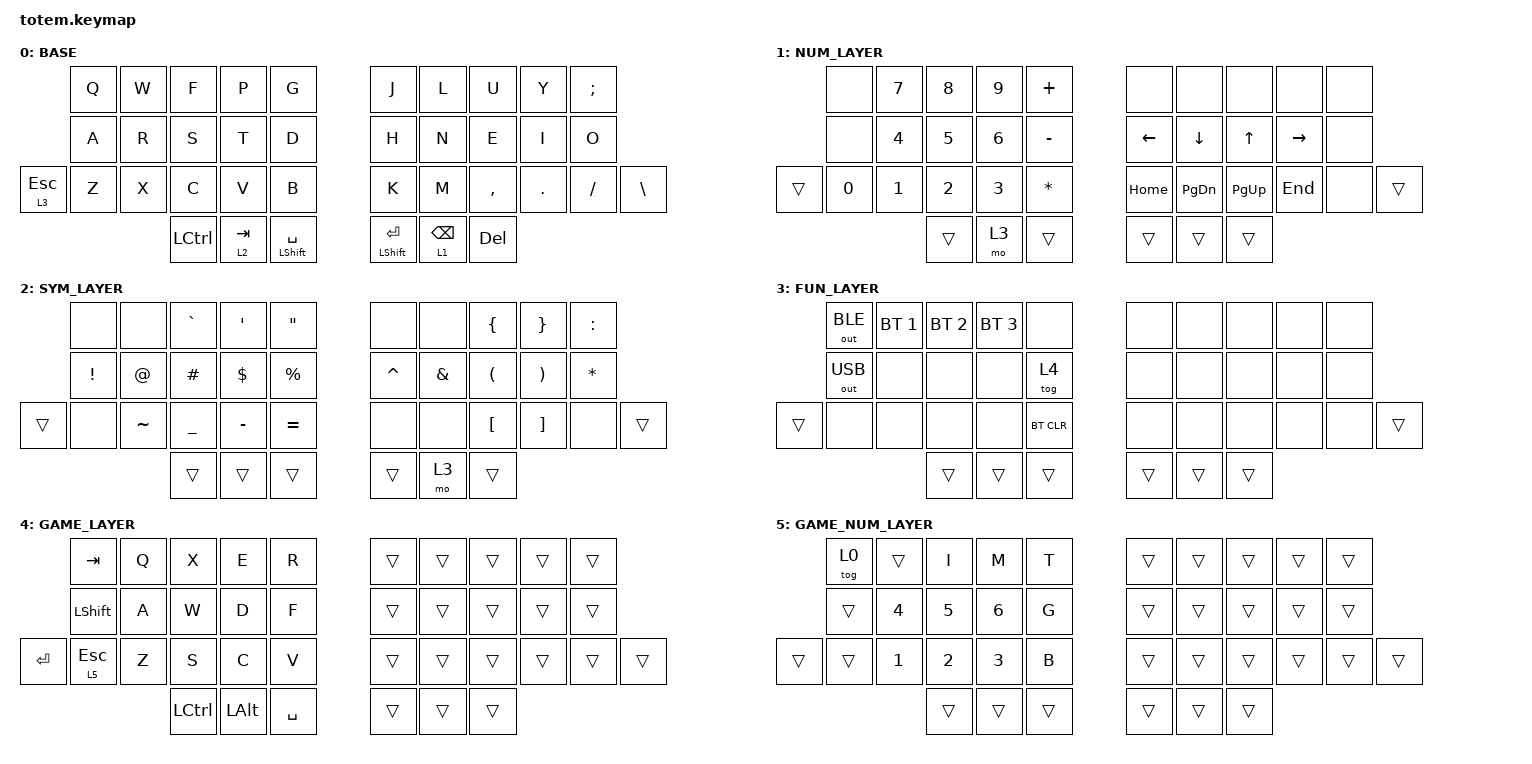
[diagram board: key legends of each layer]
//
//                                                        ▀▀▀▀▀     ▀▀▀▀▀          ▀▀█▀▀
//                                                        ▄▀▀▀▄  ▄  ▄▀▀▀▄  ▄  ▄▀▀▀▄  █  ▄▀▀▀▄
//                                                        █   █  █  █   █  █  █   █  █  █   █
//                                                         ▀▀▀   █   ▀▀▀   █   ▀▀▀   ▀   ▀▀▀
//                                                               █      ▄▄▄█▄▄▄    █   █  
//                                                               ▀      █  █  █     █▄█
//                                                             ▀▀▀▀▀    █  █  █      ▀
//                                                                      ▀  ▀  ▀
//
// ▄▄▄▄▄▄▄▄▄▄▄▄▄▄▄▄▄▄▄▄▄▄▄▄▄▄▄▄▄▄▄▄▄▄▄▄▄▄▄▄▄▄▄▄▄▄▄▄▄▄▄▄▄▄▄▄▄▄▄▄▄▄▄▄▄▄▄▄▄▄▄▄▄▄▄▄▄▄▄▄▄▄▄▄▄▄▄▄▄▄▄▄▄▄▄▄▄▄▄▄▄▄▄▄▄▄▄▄▄▄▄▄▄▄▄▄▄▄▄▄▄▄▄▄▄▄▄▄▄▄▄▄▄▄▄▄▄▄▄▄▄▄▄▄▄▄▄▄▄

#include <behaviors.dtsi>
#include <dt-bindings/zmk/bt.h>
#include <dt-bindings/zmk/keys.h>
#include <dt-bindings/zmk/outputs.h>

#define BASE 0
#define NAV  1
#define SYM  2
#define ADJ  3
#define TVP1 4
#define TVP2 5

&mt {
    quick-tap-ms = <100>;
    global-quick-tap;
    flavor = "tap-preferred";
    tapping-term-ms = <170>;
};

/ {
    combos {
        compatible = "zmk,combos";

        combo_esc {
            timeout-ms = <50>;
            key-positions = <0 1>;
            bindings = <&kp ESC>;
        };

        combo_tvp {
            timeout-ms = <100>;
            key-positions = <11 12 13>;
            bindings = <&tog 0>;
        };
    };

    macros {
        gif: gif {
            label = "giphy";
            compatible = "zmk,behavior-macro";
            #binding-cells = <0>;
            bindings =
                <&macro_press>,
                <&kp LSHFT>,
                <&macro_tap>,
                <&kp N2>,
                <&macro_release>,
                <&kp LSHFT>,
                <&macro_tap>,
                <&kp G &kp I &kp F>;
        };
    };

    keymap {
        compatible = "zmk,keymap";

        // ▄▄▄▄▄▄▄▄▄▄▄▄▄▄▄▄▄▄▄▄▄▄▄▄▄▄▄▄▄▄▄▄▄▄▄▄▄▄▄▄▄▄▄▄▄▄▄▄▄▄▄▄▄▄▄▄▄▄▄▄▄▄▄▄▄▄▄▄▄▄▄▄▄▄▄▄▄▄▄▄▄▄▄▄▄▄▄▄▄▄▄▄▄▄▄▄▄▄▄▄▄▄▄▄▄▄▄▄▄▄▄▄▄▄▄▄▄▄▄▄▄▄▄▄▄▄▄▄▄▄▄▄▄▄▄▄▄▄▄▄▄▄▄▄▄▄▄▄▄

        BASE_LAYER {
            // ┏━━━━━━━━━━━━━━━━━━━━━━━━━━━━━━━━━━━━━━━┓

            label = "BASE";

            // ┗━━━━━━━━━━━━━━━━━━━━━━━━━━━━━━━━━━━━━━━┛
            //             ┏━━━━━━━━━━━┳━━━━━━━━━━━┳━━━━━━━━━━━┳━━━━━━━━━━━┳━━━━━━━━━━━┓   ┏━━━━━━━━━━━┳━━━━━━━━━━━┳━━━━━━━━━━━┳━━━━━━━━━━━┳━━━━━━━━━━━┓
            //             ┃     Q     ┃     W     ┃     F     ┃     P     ┃     G     ┃   ┃     J     ┃     L     ┃     U     ┃     Y     ┃     ;     ┃
            //             ┣━━━━━━━━━━━╋━━━━━━━━━━━╋━━━━━━━━━━━╋━━━━━━━━━━━╋━━━━━━━━━━━┫   ┣━━━━━━━━━━━╋━━━━━━━━━━━╋━━━━━━━━━━━╋━━━━━━━━━━━╋━━━━━━━━━━━┫
            //             ┃     A     ┃     R     ┃     S     ┃     T     ┃     D     ┃   ┃     H     ┃     N     ┃     E     ┃     I     ┃     O     ┃
            // ┏━━━━━━━━━━━╋━━━━━━━━━━━╋━━━━━━━━━━━╋━━━━━━━━━━━╋━━━━━━━━━━━╋━━━━━━━━━━━┫   ┣━━━━━━━━━━━╋━━━━━━━━━━━╋━━━━━━━━━━━╋━━━━━━━━━━━╋━━━━━━━━━━━╋━━━━━━━━━━━┓
            // ┃     Q     ┃     Z     ┃     X     ┃     C     ┃     V     ┃     B     ┃   ┃     K     ┃     M     ┃     ,     ┃     .     ┃     /     ┃     \     ┃
            // ┗━━━━━━━━━━━┻━━━━━━━━━━━┻━━━━━━━━━━━╋━━━━━━━━━━━╋━━━━━━━━━━━╋━━━━━━━━━━━┫   ┣━━━━━━━━━━━╋━━━━━━━━━━━╋━━━━━━━━━━━╋━━━━━━━━━━━┻━━━━━━━━━━━┻━━━━━━━━━━━┛
            //                                     ┃    DEL    ┃    TAB    ┃    SPC    ┃   ┃   ENTER   ┃           ┃   BSPC    ┃
            //                                     ┗━━━━━━━━━━━┻━━━━━━━━━━━┻━━━━━━━━━━━┛   ┗━━━━━━━━━━━┻━━━━━━━━━━━┻━━━━━━━━━━━┛

            bindings = <
              &kp Q  &kp W  &kp F      &kp P      &kp G                   &kp J                 &kp L            &kp U       &kp Y    &kp SEMI
              &kp A  &kp R  &kp S      &kp T      &kp D                   &kp H                 &kp N            &kp E       &kp I    &kp O
&lt 3 ESCAPE  &kp Z  &kp X  &kp C      &kp V      &kp B                   &kp K                 &kp M            &kp COMMA   &kp DOT  &kp FSLH  &kp BSLH
                            &kp LCTRL  &lt 2 TAB  &mt LEFT_SHIFT SPACE    &mt LEFT_SHIFT ENTER  &lt 1 BACKSPACE  &kp DELETE
            >;
        };

        // ▄▄▄▄▄▄▄▄▄▄▄▄▄▄▄▄▄▄▄▄▄▄▄▄▄▄▄▄▄▄▄▄▄▄▄▄▄▄▄▄▄▄▄▄▄▄▄▄▄▄▄▄▄▄▄▄▄▄▄▄▄▄▄▄▄▄▄▄▄▄▄▄▄▄▄▄▄▄▄▄▄▄▄▄▄▄▄▄▄▄▄▄▄▄▄▄▄▄▄▄▄▄▄▄▄▄▄▄▄▄▄▄▄▄▄▄▄▄▄▄▄▄▄▄▄▄▄▄▄▄▄▄▄▄▄▄▄▄▄▄▄▄▄▄▄▄▄▄▄
        // ▄▄▄▄▄▄▄▄▄▄▄▄▄▄▄▄▄▄▄▄▄▄▄▄▄▄▄▄▄▄▄▄▄▄▄▄▄▄▄▄▄▄▄▄▄▄▄▄▄▄▄▄▄▄▄▄▄▄▄▄▄▄▄▄▄▄▄▄▄▄▄▄▄▄▄▄▄▄▄▄▄▄▄▄▄▄▄▄▄▄▄▄▄▄▄▄▄▄▄▄▄▄▄▄▄▄▄▄▄▄▄▄▄▄▄▄▄▄▄▄▄▄▄▄▄▄▄▄▄▄▄▄▄▄▄▄▄▄▄▄▄▄▄▄▄▄▄▄▄
        // ▄▄▄▄▄▄▄▄▄▄▄▄▄▄▄▄▄▄▄▄▄▄▄▄▄▄▄▄▄▄▄▄▄▄▄▄▄▄▄▄▄▄▄▄▄▄▄▄▄▄▄▄▄▄▄▄▄▄▄▄▄▄▄▄▄▄▄▄▄▄▄▄▄▄▄▄▄▄▄▄▄▄▄▄▄▄▄▄▄▄▄▄▄▄▄▄▄▄▄▄▄▄▄▄▄▄▄▄▄▄▄▄▄▄▄▄▄▄▄▄▄▄▄▄▄▄▄▄▄▄▄▄▄▄▄▄▄▄▄▄▄▄▄▄▄▄▄▄▄
        // ▄▄▄▄▄▄▄▄▄▄▄▄▄▄▄▄▄▄▄▄▄▄▄▄▄▄▄▄▄▄▄▄▄▄▄▄▄▄▄▄▄▄▄▄▄▄▄▄▄▄▄▄▄▄▄▄▄▄▄▄▄▄▄▄▄▄▄▄▄▄▄▄▄▄▄▄▄▄▄▄▄▄▄▄▄▄▄▄▄▄▄▄▄▄▄▄▄▄▄▄▄▄▄▄▄▄▄▄▄▄▄▄▄▄▄▄▄▄▄▄▄▄▄▄▄▄▄▄▄▄▄▄▄▄▄▄▄▄▄▄▄▄▄▄▄▄▄▄▄
        // ▄▄▄▄▄▄▄▄▄▄▄▄▄▄▄▄▄▄▄▄▄▄▄▄▄▄▄▄▄▄▄▄▄▄▄▄▄▄▄▄▄▄▄▄▄▄▄▄▄▄▄▄▄▄▄▄▄▄▄▄▄▄▄▄▄▄▄▄▄▄▄▄▄▄▄▄▄▄▄▄▄▄▄▄▄▄▄▄▄▄▄▄▄▄▄▄▄▄▄▄▄▄▄▄▄▄▄▄▄▄▄▄▄▄▄▄▄▄▄▄▄▄▄▄▄▄▄▄▄▄▄▄▄▄▄▄▄▄▄▄▄▄▄▄▄▄▄▄▄

        NUM_LAYER {
            bindings = <
        &none   &kp N7  &kp N8  &kp N9  &kp PLUS        &none     &none          &none        &none      &none
        &none   &kp N4  &kp N5  &kp N6  &kp MINUS       &kp LEFT  &kp DOWN       &kp UP       &kp RIGHT  &none
&trans  &kp N0  &kp N1  &kp N2  &kp N3  &kp ASTERISK    &kp HOME  &kp PAGE_DOWN  &kp PAGE_UP  &kp END    &none  &trans
                        &trans  &mo 3   &trans          &trans    &trans         &trans
            >;
        };

        SYM_LAYER {
            bindings = <
        &none            &none        &kp GRAVE       &kp SQT     &kp DOUBLE_QUOTES    &none      &none          &kp LEFT_BRACE        &kp RIGHT_BRACE        &kp COLON
        &kp EXCLAMATION  &kp AT_SIGN  &kp HASH        &kp DOLLAR  &kp PERCENT          &kp CARET  &kp AMPERSAND  &kp LEFT_PARENTHESIS  &kp RIGHT_PARENTHESIS  &kp ASTERISK
&trans  &none            &kp TILDE    &kp UNDERSCORE  &kp MINUS   &kp EQUAL            &none      &none          &kp LEFT_BRACKET      &kp RIGHT_BRACKET      &none         &trans
                                      &trans          &trans      &trans               &trans     &mo 3          &trans
            >;
        };

        FUN_LAYER {
            bindings = <
        &out OUT_BLE  &bt BT_SEL 1  &bt BT_SEL 2  &bt BT_SEL 3  &none         &none   &none   &none   &none  &none
        &out OUT_USB  &none         &none         &none         &tog 4        &none   &none   &none   &none  &none
&trans  &none         &none         &none         &none         &bt BT_CLR    &none   &none   &none   &none  &none  &trans
                                    &trans        &trans        &trans        &trans  &trans  &trans
            >;
        };

        GAME_LAYER {
            bindings = <
           &kp TAB       &kp Q  &kp X      &kp E     &kp R        &trans  &trans  &trans  &trans  &trans
           &kp LSHFT     &kp A  &kp W      &kp D     &kp F        &trans  &trans  &trans  &trans  &trans
&kp ENTER  &lt 5 ESCAPE  &kp Z  &kp S      &kp C     &kp V        &trans  &trans  &trans  &trans  &trans  &trans
                                &kp LCTRL  &kp LALT  &kp SPACE    &trans  &trans  &trans
            >;
        };

        GAME_NUM_LAYER {
            bindings = <
        &tog 0  &trans  &kp I   &kp M   &kp T     &trans  &trans  &trans  &trans  &trans
        &trans  &kp N4  &kp N5  &kp N6  &kp G     &trans  &trans  &trans  &trans  &trans
&trans  &trans  &kp N1  &kp N2  &kp N3  &kp B     &trans  &trans  &trans  &trans  &trans  &trans
                        &trans  &trans  &trans    &trans  &trans  &trans
            >;
        };
    };
};
